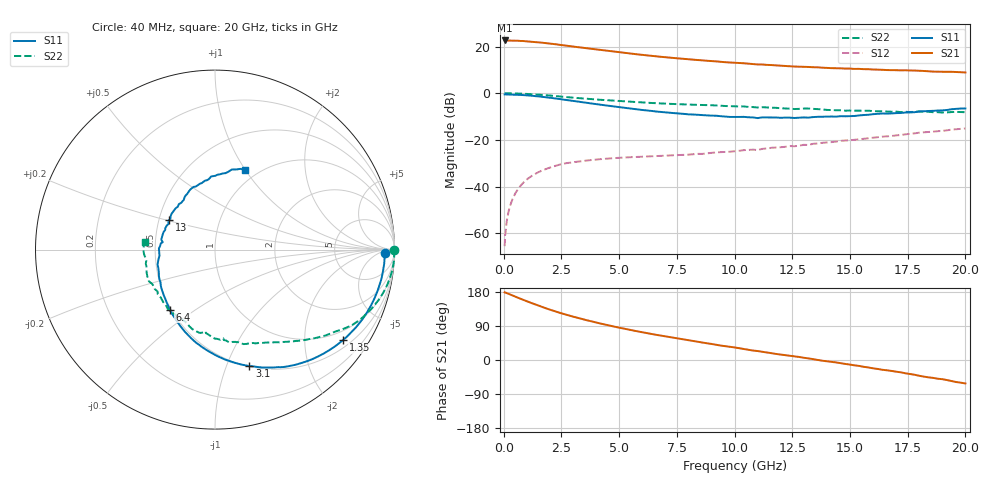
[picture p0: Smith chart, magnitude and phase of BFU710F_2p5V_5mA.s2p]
! Filename:  P:\Prog\Test\Noise\ATS_data\Testdata_Net\BFU710\BFU710_2W_A1_2.5V5mA_D.s2p
! Date/Time: Fri 29/Apr/2011 13:26:37
! BFU710_2W_A1_2.5V5mA
! bias mode 1: Vout= 2.5000 V, Iout= 5.0000 mA, Vin= 0.8173 V, Iin= 0.0173 mA
! Date/time Wed Mar 16 12:24:47 2011
! Device data file deembeded for feedlines and parallel
! Original file: \BFU710\BFU710_2W_A1_2.5V5mA_R.s2p
! Feed-files: PR003V01_101208_Feed1.s2p, PR003V01_101208_Feed2.s2p
! Parallel-file: PR003V01_101208_Par.s2p
# MHz S MA R 50
!  Freq-MHz  S11-mag  S11-arg  S21-mag  S21-arg  S12-mag  S12-arg  S22-mag  S22-arg
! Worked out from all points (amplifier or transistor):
!   167 points, 40 MHz to 20 GHz, reference 50 ohm
!   highest |S21| = 22.7 dB at 50 MHz (marker M1)
!   |S21| within 3 dB of that: start of sweep to 3.319 GHz
!   unconditionally stable (mu >= 1): 6.559 GHz to 16.38 GHz; 16.47 GHz to 16.68 GHz
!   at 550 MHz: K = 0.04, MSG = 32.3 dB, |S12| = -42.1 dB
!   at 4.2 GHz: K = 0.63, MSG = 23.4 dB, |S12| = -28.2 dB
!   at 20 GHz: K = 0.78, MSG = 12.0 dB, |S12| = -15.1 dB
!   S11 on the Smith chart (normalised r, x): 40 MHz: 33, -10; 1.35 GHz: 0.70, -3.00; 3.1 GHz: 0.50, -1.21; 6.4 GHz: 0.49, -0.40; 13 GHz: 0.57, +0.20; 20 GHz: 0.87, +0.99
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40  0.9463 -1.0  13.53 178.5  0.0005293 75.9  0.9978 -0.3
50  0.9488 -1.4  13.57 177.9  0.0006267 116.2  0.9974 -0.5
60  0.9455 -1.5  13.4 177.9  0.0009217 91.3  0.9987 -0.6
220  0.9449 -5.8  13.49 174.5  0.003043 87.2  0.9987 -2.9
600  0.931 -16.0  13.41 164.8  0.008556 82.2  0.9899 -8.3
1000  0.9047 -26.4  13.02 155.1  0.01416 75.3  0.9704 -13.8
1350  0.8734 -35.2  12.57 147.0  0.01859 69.6  0.9468 -18.2
1900  0.8158 -48.5  11.83 134.9  0.02457 61.8  0.905 -24.6
2250  0.7754 -56.4  11.27 127.8  0.02789 57.6  0.875 -28.4
3100  0.6765 -73.6  9.912 112.9  0.03376 47.8  0.8002 -35.6
3400  0.6447 -79.2  9.499 108.0  0.03526 45.6  0.7785 -38.0
4100  0.5779 -91.6  8.589 97.5  0.03842 41.0  0.7309 -42.7
4800  0.5203 -103.2  7.795 87.9  0.0409 37.3  0.6921 -47.3
5600  0.4627 -115.5  7.008 77.9  0.04288 34.2  0.6524 -51.9
6400  0.4192 -127.2  6.35 68.7  0.04463 32.4  0.6202 -56.4
6800  0.3984 -132.7  6.063 64.5  0.04539 31.9  0.6078 -58.4
8200  0.3511 -151.6  5.268 50.2  0.04945 31.8  0.5698 -66.5
10200  0.3113 -178.0  4.46 31.2  0.0586 31.4  0.5234 -79.5
13000  0.3041 147.3  3.718 5.9  0.07868 27.9  0.471 -99.8
13400  0.3092 143.3  3.62 2.1  0.08279 27.1  0.4644 -104.4
16800  0.3704 105.4  3.139 -28.8  0.1216 13.3  0.4033 -138.5
20000  0.4736 69.6  2.797 -61.9  0.1767 -8.4  0.3933 174.0
